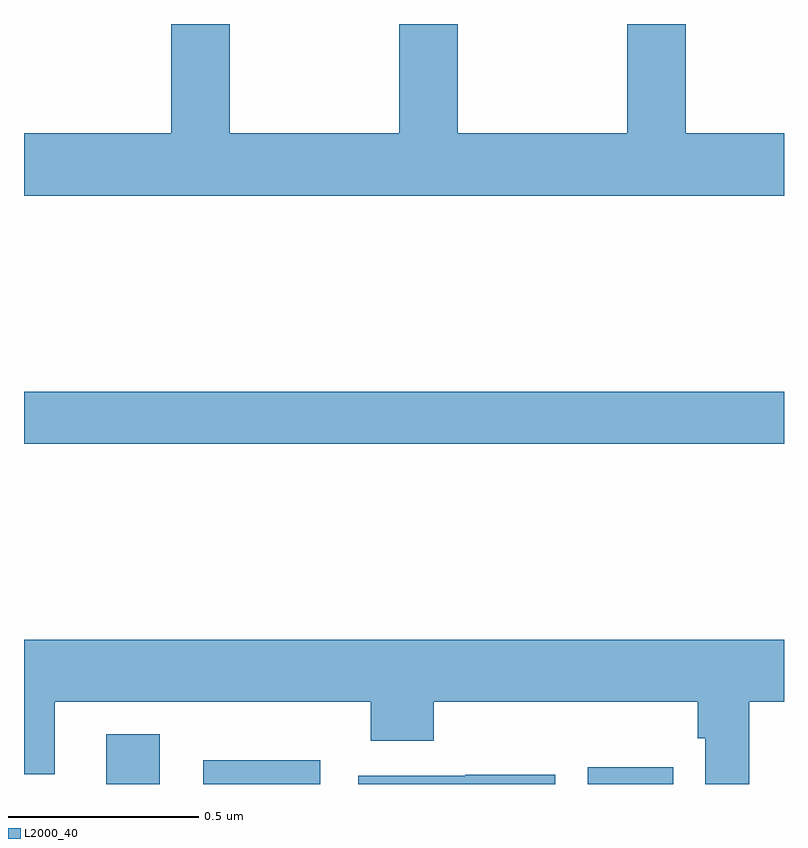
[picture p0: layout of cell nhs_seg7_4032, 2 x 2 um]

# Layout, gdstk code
import gdstk
lib = gdstk.Library(unit=1e-6, precision=1e-09)
def R(c, l, rs):  # rectangles x0, y0, x1, y1
    for r in rs: c.add(gdstk.rectangle(r[:2], r[2:], *l))
def P(c, l, *ps):  # polygons
    for p in ps: c.add(gdstk.Polygon(p, *l))
L2000_40 = (2000, 40)

nhs_seg7_4032 = lib.new_cell('nhs_seg7_4032')
R(nhs_seg7_4032, L2000_40, [(166.217,1067,166.357,1067.131), (166.472,1067,166.78,1067.062), (167.483,1067,167.708,1067.044), (166,1067.896,168,1068.032)])
P(nhs_seg7_4032, L2000_40, [(168,1068.712),(167.742,1068.712),(167.742,1069),(167.587,1069),(167.587,1068.712),(167.142,1068.712),(167.142,1069),(166.987,1069),(166.987,1068.712),(166.542,1068.712),(166.542,1069),(166.387,1069),(166.387,1068.712),(166,1068.712),(166,1068.548),(168,1068.548)],
  [(167.909,1067.216),(168,1067.216),(168,1067.38),(166,1067.38),(166,1067.026),(166.081,1067.026),(166.081,1067.216),(166.913,1067.216),(166.913,1067.114),(167.078,1067.114),(167.078,1067.216),(167.773,1067.216),(167.773,1067.12),(167.793,1067.12),(167.793,1067),(167.909,1067)],
  [(167.398,1067.024),(167.161,1067.024),(167.161,1067.022),(166.879,1067.022),(166.879,1067),(167.398,1067)])

lib.write_gds('nhs_seg7_4032.gds')
